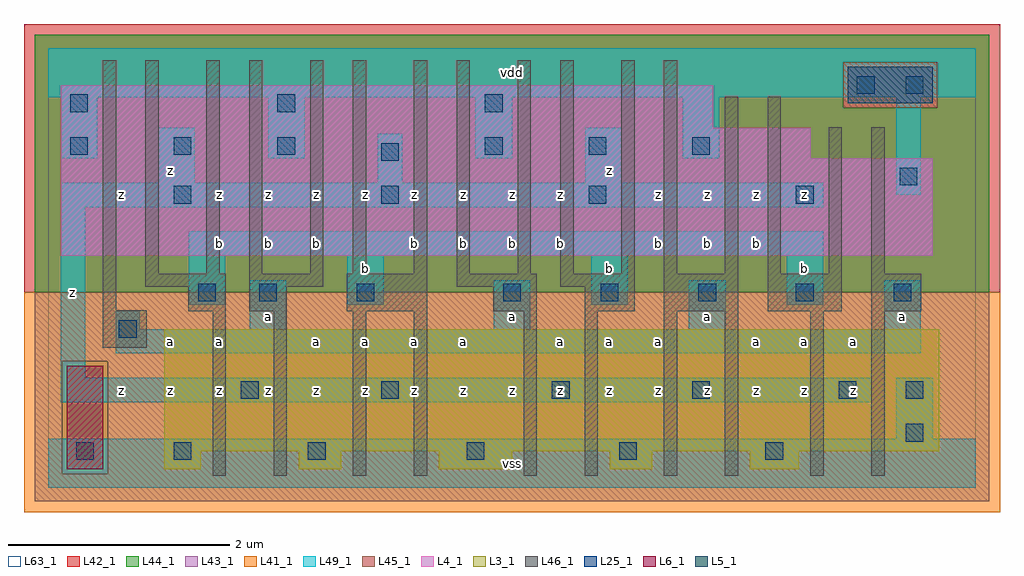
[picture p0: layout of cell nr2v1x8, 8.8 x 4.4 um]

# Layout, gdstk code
import gdstk
lib = gdstk.Library(unit=1e-6, precision=1e-09)
def R(c, l, rs):  # rectangles x0, y0, x1, y1
    for r in rs: c.add(gdstk.rectangle(r[:2], r[2:], *l))
def A(c, l, x, y, w, h, nx, ny, dx, dy):  # array of equal rectangles
    R(c, l, [(x+i*dx, y+j*dy, x+i*dx+w, y+j*dy+h) for i in range(nx) for j in range(ny)])
L3_1 = (3, 1)
L4_1 = (4, 1)
L5_1 = (5, 1)
L6_1 = (6, 1)
L25_1 = (25, 1)
L41_1 = (41, 1)
L42_1 = (42, 1)
L43_1 = (43, 1)
L44_1 = (44, 1)
L45_1 = (45, 1)
L46_1 = (46, 1)
L49_1 = (49, 1)
L63_1 = (63, 1)

nr2v1x8 = lib.new_cell('nr2v1x8')
R(nr2v1x8, L3_1, [(1.045,0.165,1.375,0.33), (2.255,0.165,2.64,0.33), (3.52,0.165,4.18,0.33), (5.06,0.165,5.445,0.33), (6.325,0.165,6.765,0.33), (1.045,0.33,8.03,1.43)])
R(nr2v1x8, L4_1, [(0.11,2.09,7.975,2.97), (0.11,2.97,6.875,3.245), (0.11,3.245,5.995,3.63)])
R(nr2v1x8, L5_1, [(7.205,3.465,7.975,3.795)])
R(nr2v1x8, L6_1, [(0.165,0.165,0.495,1.1)])
A(nr2v1x8, L25_1, 4.1, 1.68, 0.16, 0.16, 5, 1, 0.88, 0)
A(nr2v1x8, L25_1, 1.13, 2.56, 0.16, 0.16, 4, 1, 1.87, 0)
A(nr2v1x8, L25_1, 0.195, 3, 0.16, 0.16, 3, 1, 0.935, 0)
A(nr2v1x8, L25_1, 3.935, 3, 0.16, 0.16, 3, 1, 0.935, 0)
A(nr2v1x8, L25_1, 0.195, 3.385, 0.16, 0.16, 3, 1, 1.87, 0)
R(nr2v1x8, L25_1, [(0.25,0.25,0.41,0.41), (1.13,0.25,1.29,0.41), (2.34,0.25,2.5,0.41), (3.77,0.25,3.93,0.41), (5.145,0.25,5.305,0.41), (6.465,0.25,6.625,0.41), (7.73,0.415,7.89,0.575), (1.735,0.8,1.895,0.96), (3,0.8,3.16,0.96), (4.54,0.8,4.7,0.96), (5.805,0.8,5.965,0.96), (7.125,0.8,7.285,0.96), (7.73,0.8,7.89,0.96), (0.635,1.35,0.795,1.51), (1.35,1.68,1.51,1.84), (1.9,1.68,2.06,1.84), (2.78,1.68,2.94,1.84), (7.675,2.725,7.835,2.885), (3,2.945,3.16,3.105), (7.29,3.55,7.45,3.71), (7.73,3.55,7.89,3.71)])
R(nr2v1x8, L41_1, [(-0.22,-0.22,8.58,1.76)])
R(nr2v1x8, L42_1, [(-0.22,1.76,8.58,4.18)])
R(nr2v1x8, L43_1, [(0.165,0.165,0.495,1.1), (1.045,0.165,1.375,0.33), (2.255,0.165,2.64,0.33), (3.52,0.165,4.18,0.33), (5.06,0.165,5.445,0.33), (6.325,0.165,6.765,0.33), (1.045,0.33,8.03,1.43), (0.11,2.09,7.975,2.97), (0.11,2.97,6.875,3.245), (0.11,3.245,5.995,3.63), (7.205,3.465,7.975,3.795)])
R(nr2v1x8, L44_1, [(0.125,0.125,0.535,1.14), (-0.125,1.76,8.485,3.425), (-0.125,3.425,7.165,3.835), (8.015,3.425,8.485,3.835), (-0.125,3.835,8.485,4.085)])
R(nr2v1x8, L45_1, [(-0.125,-0.125,8.485,0.125), (-0.125,0.125,0.125,1.14), (0.535,0.125,8.485,1.14), (-0.125,1.14,8.485,1.76), (7.165,3.425,8.015,3.835)])
R(nr2v1x8, L46_1, [(1.48,0.105,1.6,1.59), (2.03,0.105,2.15,1.59), (2.745,0.105,2.865,1.59), (3.295,0.105,3.415,1.59), (4.285,0.105,4.405,1.59), (4.835,0.105,4.955,1.59), (5.55,0.105,5.67,1.59), (6.1,0.105,6.22,1.59), (6.87,0.105,6.99,1.59), (7.42,0.105,7.54,1.59), (0.49,1.26,0.885,1.6), (1.26,1.59,1.6,1.81), (1.81,1.59,2.15,1.81), (2.69,1.59,3.415,1.93), (4.01,1.59,4.405,1.81), (4.835,1.59,5.285,1.81), (5.55,1.59,6.22,1.93), (6.485,1.59,7.155,1.93), (7.42,1.59,7.87,1.93), (0.49,1.6,0.61,3.855), (0.875,1.81,1.6,1.93), (1.81,1.81,2.48,1.93), (3.68,1.81,4.405,1.93), (4.615,1.81,5.285,1.93), (0.875,1.93,0.995,3.855), (1.425,1.93,1.545,3.855), (1.81,1.93,1.93,3.855), (2.36,1.93,2.48,3.855), (2.745,1.93,2.865,3.855), (3.295,1.93,3.415,3.855), (3.68,1.93,3.8,3.855), (4.23,1.93,4.35,3.855), (4.615,1.93,4.735,3.855), (5.165,1.93,5.285,3.855), (5.55,1.93,5.67,3.855), (6.1,1.93,6.22,3.525), (6.485,1.93,6.605,3.525), (7.035,1.93,7.155,3.25), (7.42,1.93,7.54,3.25)])
A(nr2v1x8, L49_1, 4.015, 1.43, 0.33, 0.44, 3, 1, 1.76, 0)
A(nr2v1x8, L49_1, 0.11, 2.97, 0.33, 0.55, 4, 1, 1.87, 0)
R(nr2v1x8, L49_1, [(0,0,8.36,0.44), (7.645,0.44,7.975,0.99), (0.11,0.77,7.425,0.99), (0.11,0.99,0.33,2.53), (0.605,1.21,7.865,1.43), (0.605,1.43,0.825,1.595), (1.815,1.43,2.145,1.87), (1.265,1.65,1.595,2.09), (2.695,1.65,3.025,2.09), (4.895,1.65,5.225,2.09), (6.655,1.65,6.985,2.09), (1.265,2.09,6.985,2.31), (0.11,2.53,6.985,2.75), (7.645,2.64,7.865,3.52), (0.99,2.75,1.32,3.245), (2.97,2.75,3.19,3.19), (4.84,2.75,5.17,3.245), (0,3.52,8.36,3.96)])
R(nr2v1x8, L63_1, [(0,0,8.36,3.96)])
nr2v1x8.add(gdstk.Label('z', (1.1,0.88), layer=49, texttype=1))
nr2v1x8.add(gdstk.Label('z', (0.66,0.88), layer=49, texttype=1))
nr2v1x8.add(gdstk.Label('a', (1.1,1.32), layer=49, texttype=1))
nr2v1x8.add(gdstk.Label('z', (0.22,1.76), layer=49, texttype=1))
nr2v1x8.add(gdstk.Label('z', (1.1,2.86), layer=49, texttype=1))
nr2v1x8.add(gdstk.Label('z', (0.66,2.64), layer=49, texttype=1))
nr2v1x8.add(gdstk.Label('z', (2.42,0.88), layer=49, texttype=1))
nr2v1x8.add(gdstk.Label('z', (1.98,0.88), layer=49, texttype=1))
nr2v1x8.add(gdstk.Label('z', (1.54,0.88), layer=49, texttype=1))
nr2v1x8.add(gdstk.Label('a', (2.42,1.32), layer=49, texttype=1))
nr2v1x8.add(gdstk.Label('a', (1.98,1.54), layer=49, texttype=1))
nr2v1x8.add(gdstk.Label('a', (1.54,1.32), layer=49, texttype=1))
nr2v1x8.add(gdstk.Label('b', (2.42,2.2), layer=49, texttype=1))
nr2v1x8.add(gdstk.Label('b', (1.98,2.2), layer=49, texttype=1))
nr2v1x8.add(gdstk.Label('b', (1.54,2.2), layer=49, texttype=1))
nr2v1x8.add(gdstk.Label('z', (2.42,2.64), layer=49, texttype=1))
nr2v1x8.add(gdstk.Label('z', (1.98,2.64), layer=49, texttype=1))
nr2v1x8.add(gdstk.Label('z', (1.54,2.64), layer=49, texttype=1))
nr2v1x8.add(gdstk.Label('z', (2.86,0.88), layer=49, texttype=1))
nr2v1x8.add(gdstk.Label('z', (3.74,0.88), layer=49, texttype=1))
nr2v1x8.add(gdstk.Label('z', (3.3,0.88), layer=49, texttype=1))
nr2v1x8.add(gdstk.Label('a', (3.74,1.32), layer=49, texttype=1))
nr2v1x8.add(gdstk.Label('a', (3.3,1.32), layer=49, texttype=1))
nr2v1x8.add(gdstk.Label('a', (2.86,1.32), layer=49, texttype=1))
nr2v1x8.add(gdstk.Label('b', (3.74,2.2), layer=49, texttype=1))
nr2v1x8.add(gdstk.Label('b', (3.3,2.2), layer=49, texttype=1))
nr2v1x8.add(gdstk.Label('b', (2.86,1.98), layer=49, texttype=1))
nr2v1x8.add(gdstk.Label('z', (3.74,2.64), layer=49, texttype=1))
nr2v1x8.add(gdstk.Label('z', (3.3,2.64), layer=49, texttype=1))
nr2v1x8.add(gdstk.Label('z', (2.86,2.64), layer=49, texttype=1))
nr2v1x8.add(gdstk.Label('vss', (4.18,0.22), layer=49, texttype=1))
nr2v1x8.add(gdstk.Label('z', (4.18,0.88), layer=49, texttype=1))
nr2v1x8.add(gdstk.Label('z', (5.06,0.88), layer=49, texttype=1))
nr2v1x8.add(gdstk.Label('z', (4.62,0.88), layer=49, texttype=1))
nr2v1x8.add(gdstk.Label('z', (5.5,0.88), layer=49, texttype=1))
nr2v1x8.add(gdstk.Label('a', (5.06,1.32), layer=49, texttype=1))
nr2v1x8.add(gdstk.Label('a', (4.62,1.32), layer=49, texttype=1))
nr2v1x8.add(gdstk.Label('a', (5.5,1.32), layer=49, texttype=1))
nr2v1x8.add(gdstk.Label('a', (4.18,1.54), layer=49, texttype=1))
nr2v1x8.add(gdstk.Label('b', (5.06,1.98), layer=49, texttype=1))
nr2v1x8.add(gdstk.Label('b', (4.62,2.2), layer=49, texttype=1))
nr2v1x8.add(gdstk.Label('b', (5.5,2.2), layer=49, texttype=1))
nr2v1x8.add(gdstk.Label('b', (4.18,2.2), layer=49, texttype=1))
nr2v1x8.add(gdstk.Label('z', (5.06,2.86), layer=49, texttype=1))
nr2v1x8.add(gdstk.Label('z', (4.62,2.64), layer=49, texttype=1))
nr2v1x8.add(gdstk.Label('z', (5.5,2.64), layer=49, texttype=1))
nr2v1x8.add(gdstk.Label('z', (4.18,2.64), layer=49, texttype=1))
nr2v1x8.add(gdstk.Label('vdd', (4.18,3.74), layer=49, texttype=1))
nr2v1x8.add(gdstk.Label('z', (6.82,0.88), layer=49, texttype=1))
nr2v1x8.add(gdstk.Label('z', (6.38,0.88), layer=49, texttype=1))
nr2v1x8.add(gdstk.Label('z', (5.94,0.88), layer=49, texttype=1))
nr2v1x8.add(gdstk.Label('a', (6.82,1.32), layer=49, texttype=1))
nr2v1x8.add(gdstk.Label('a', (6.38,1.32), layer=49, texttype=1))
nr2v1x8.add(gdstk.Label('a', (5.94,1.54), layer=49, texttype=1))
nr2v1x8.add(gdstk.Label('b', (6.82,1.98), layer=49, texttype=1))
nr2v1x8.add(gdstk.Label('b', (6.38,2.2), layer=49, texttype=1))
nr2v1x8.add(gdstk.Label('b', (5.94,2.2), layer=49, texttype=1))
nr2v1x8.add(gdstk.Label('z', (6.82,2.64), layer=49, texttype=1))
nr2v1x8.add(gdstk.Label('z', (6.38,2.64), layer=49, texttype=1))
nr2v1x8.add(gdstk.Label('z', (5.94,2.64), layer=49, texttype=1))
nr2v1x8.add(gdstk.Label('z', (7.26,0.88), layer=49, texttype=1))
nr2v1x8.add(gdstk.Label('a', (7.7,1.54), layer=49, texttype=1))
nr2v1x8.add(gdstk.Label('a', (7.26,1.32), layer=49, texttype=1))

lib.write_gds('nr2v1x8.gds')
